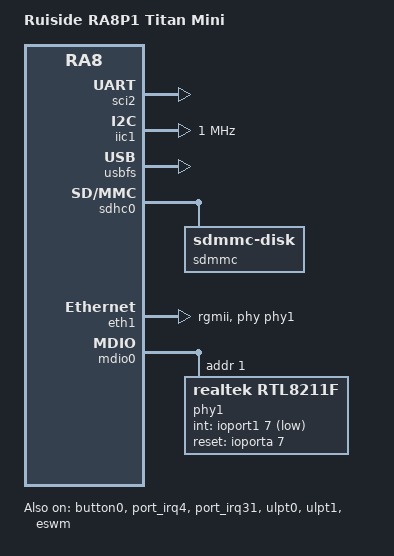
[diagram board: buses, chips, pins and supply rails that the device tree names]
/*
 * SPDX-FileCopyrightText: Copyright The Zephyr Project Contributors
 * SPDX-License-Identifier: Apache-2.0
 */

/dts-v1/;

#include <renesas/ra/ra8/r7ka8p1kflcac_cm85.dtsi>
#include "ra8p1_titan_mini.dtsi"

/ {
	model = "Ruiside RA8P1 Titan Mini";
	compatible = "ruiside,ra8p1-titan-mini", "renesas,ra8p1", "renesas,ra8";

	chosen {
		zephyr,console = &uart2;
		zephyr,shell-uart = &uart2;
		zephyr,sram = &sram0;
		zephyr,flash = &code_mram_cm85;
		zephyr,flash-controller = &mram_ctrl;
		zephyr,code-partition = &slot0_partition;
		zephyr,entropy = &trng;
	};

	aliases {
		led0 = &led1;
		sw0 = &button0;
		sdhc0 = &sdhc0;
	};
};

&button0 {
	status = "okay";
};

&sci2 {
	pinctrl-0 = <&sci2_default>;
	pinctrl-names = "default";
	interrupts = <0 1>, <1 1>, <2 1>, <3 1>;
	interrupt-names = "rxi", "txi", "tei", "eri";
	status = "okay";

	uart2: uart {
		current-speed = <115200>;
		status = "okay";
	};
};

&iic1 {
	#address-cells = <1>;
	#size-cells = <0>;
	clock-frequency = <I2C_BITRATE_FAST_PLUS>;
	pinctrl-0 = <&iic1_default>;
	pinctrl-names = "default";
	interrupts = <4 1>, <5 1>, <6 1>, <7 1>;
	interrupt-names = "rxi", "txi", "tei", "eri";
	status = "okay";
};

/* SW1 user/boot button on P201, mapped to port IRQ4. */
&port_irq4 {
	interrupts = <8 12>;
	status = "okay";
};

/* RTL8211F PHY interrupt on P107, mapped to port IRQ31. */
&port_irq31 {
	interrupts = <9 12>;
	status = "okay";
};

&ulpt0 {
	interrupts = <10 1>;
	interrupt-names = "ulpti";
	status = "okay";

	timer {
		status = "okay";
	};
};

&ulpt1 {
	status = "okay";

	timer {
		status = "okay";
	};
};

&usbfs {
	interrupts = <11 12>, <12 12>;
	interrupt-names = "usbfs-i", "usbfs-r";
	status = "okay";

	zephyr_udc0: udc {
		status = "okay";
	};
};

&code_mram_cm85 {
	partitions {
		ranges;
		#address-cells = <1>;
		#size-cells = <1>;

		boot_partition: partition@0 {
			compatible = "zephyr,mapped-partition";
			label = "mcuboot";
			reg = <0x0 DT_SIZE_K(64)>;
		};

		slot0_partition: partition@10000 {
			compatible = "zephyr,mapped-partition";
			label = "image-0";
			reg = <0x10000 DT_SIZE_K(344)>;
		};

		slot1_partition: partition@66000 {
			compatible = "zephyr,mapped-partition";
			label = "image-1";
			reg = <0x66000 DT_SIZE_K(344)>;
		};

		storage_partition: partition@bc000 {
			compatible = "zephyr,mapped-partition";
			label = "storage";
			reg = <0xbc000 DT_SIZE_K(16)>;
		};
	};
};

&sdhc0 {
	interrupt-names = "accs", "card", "dma-req";
	interrupts = <13 12>, <14 12>, <15 12>;
	pinctrl-0 = <&sdhc0_default>;
	pinctrl-names = "default";
	status = "okay";

	sdmmc {
		compatible = "zephyr,sdmmc-disk";
		disk-name = "SD";
		status = "okay";
	};
};

&eswm {
	interrupts = <16 1>;
	interrupt-names = "gwdi";
	status = "okay";
};

&eth1 {
	phy-connection-type = "rgmii";
	local-mac-address = [74 90 50 01 02 04];
	phy-clock-type = "xtal";
	phy-handle = <&phy1>;
	pinctrl-0 = <&eth1_default>;
	pinctrl-names = "default";
	status = "okay";
};

&mdio0 {
	pinctrl-0 = <&mdio0_default>;
	pinctrl-names = "default";
	status = "okay";

	phy1: phy@1 {
		compatible = "realtek,rtl8211f";
		reg = <1>;
		int-gpios = <&ioport1 7 GPIO_ACTIVE_LOW>;
		reset-gpios = <&ioporta 7 GPIO_ACTIVE_HIGH>;
		realtek,rgmii-delay = "rxid";
		status = "okay";
	};
};
